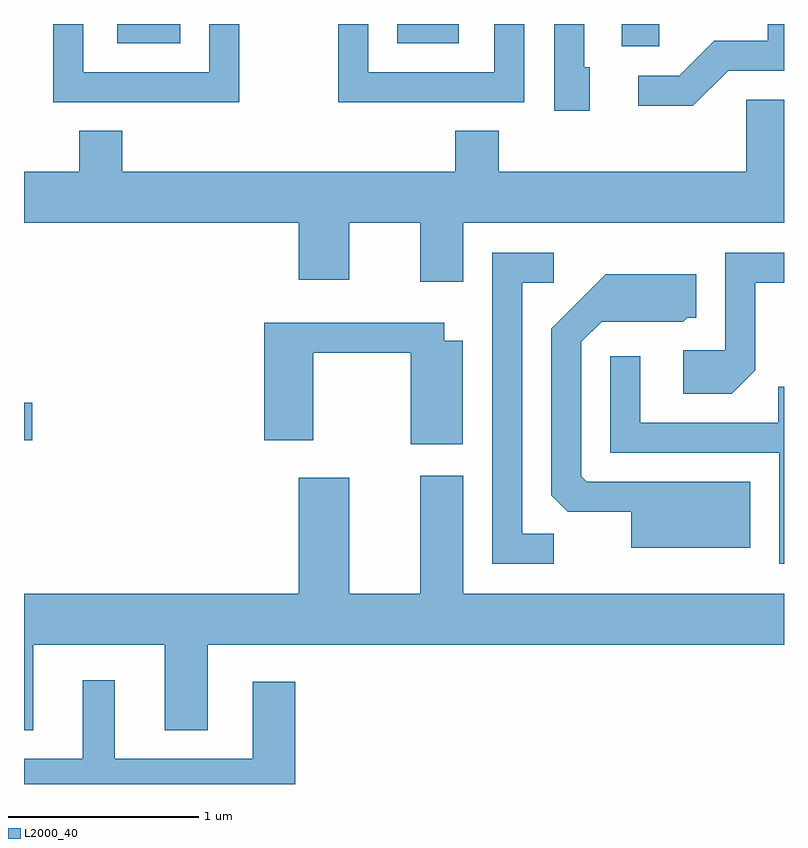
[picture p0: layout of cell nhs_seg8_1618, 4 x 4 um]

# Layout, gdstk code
import gdstk
lib = gdstk.Library(unit=1e-6, precision=1e-09)
def R(c, l, rs):  # rectangles x0, y0, x1, y1
    for r in rs: c.add(gdstk.rectangle(r[:2], r[2:], *l))
def P(c, l, *ps):  # polygons
    for p in ps: c.add(gdstk.Polygon(p, *l))
L2000_40 = (2000, 40)

nhs_seg8_1618 = lib.new_cell('nhs_seg8_1618')
R(nhs_seg8_1618, L2000_40, [(233.611,1844.151,233.654,1844.349), (236.756,1846.226,236.954,1846.342), (234.101,1846.241,234.434,1846.342), (235.576,1846.241,235.899,1846.342)])
P(nhs_seg8_1618, L2000_40, [(236.589,1846.114),(236.559,1846.114),(236.559,1846.342),(236.401,1846.342),(236.401,1845.886),(236.589,1845.886)],
  [(237.317,1846.096),(237.611,1846.096),(237.611,1846.342),(237.526,1846.342),(237.526,1846.254),(237.244,1846.254),(237.059,1846.069),(236.843,1846.069),(236.843,1845.911),(237.132,1845.911)],
  [(234.744,1846.342),(234.586,1846.342),(234.586,1846.089),(233.924,1846.089),(233.924,1846.342),(233.766,1846.342),(233.766,1845.931),(234.744,1845.931)],
  [(236.244,1846.342),(236.086,1846.342),(236.086,1846.089),(235.424,1846.089),(235.424,1846.342),(235.266,1846.342),(235.266,1845.931),(236.244,1845.931)],
  [(235.924,1845.296),(237.611,1845.296),(237.611,1845.944),(237.411,1845.944),(237.411,1845.564),(236.109,1845.564),(236.109,1845.779),(235.881,1845.779),(235.881,1845.564),(234.129,1845.564),(234.129,1845.779),(233.901,1845.779),(233.901,1845.564),(233.611,1845.564),(233.611,1845.296),(235.056,1845.296),(235.056,1844.996),(235.324,1844.996),(235.324,1845.296),(235.696,1845.296),(235.696,1844.986),(235.924,1844.986)],
  [(236.398,1843.659),(236.234,1843.659),(236.234,1844.981),(236.398,1844.981),(236.398,1845.139),(236.076,1845.139),(236.076,1843.501),(236.398,1843.501)],
  [(237.459,1844.519),(237.459,1844.981),(237.611,1844.981),(237.611,1845.139),(237.301,1845.139),(237.301,1844.624),(237.081,1844.624),(237.081,1844.396),(237.337,1844.396)],
  [(237.434,1843.934),(236.572,1843.934),(236.544,1843.962),(236.544,1844.669),(236.652,1844.776),(237.082,1844.776),(237.102,1844.796),(237.149,1844.796),(237.149,1845.024),(236.674,1845.024),(236.386,1844.737),(236.386,1843.862),(236.472,1843.776),(236.806,1843.776),(236.806,1843.586),(237.434,1843.586)],
  [(235.919,1844.674),(235.824,1844.674),(235.824,1844.769),(234.876,1844.769),(234.876,1844.151),(235.134,1844.151),(235.134,1844.611),(235.646,1844.611),(235.646,1844.131),(235.919,1844.131)],
  [(237.611,1844.433),(237.581,1844.433),(237.581,1844.244),(236.854,1844.244),(236.854,1844.593),(236.696,1844.593),(236.696,1844.086),(237.586,1844.086),(237.586,1843.501),(237.611,1843.501)],
  [(233.659,1843.076),(234.351,1843.076),(234.351,1842.626),(234.579,1842.626),(234.579,1843.076),(237.611,1843.076),(237.611,1843.344),(235.924,1843.344),(235.924,1843.964),(235.696,1843.964),(235.696,1843.344),(235.324,1843.344),(235.324,1843.954),(235.056,1843.954),(235.056,1843.344),(233.611,1843.344),(233.611,1842.626),(233.659,1842.626)],
  [(235.039,1842.879),(234.816,1842.879),(234.816,1842.474),(234.089,1842.474),(234.089,1842.888),(233.921,1842.888),(233.921,1842.474),(233.611,1842.474),(233.611,1842.342),(235.039,1842.342)])

lib.write_gds('nhs_seg8_1618.gds')
